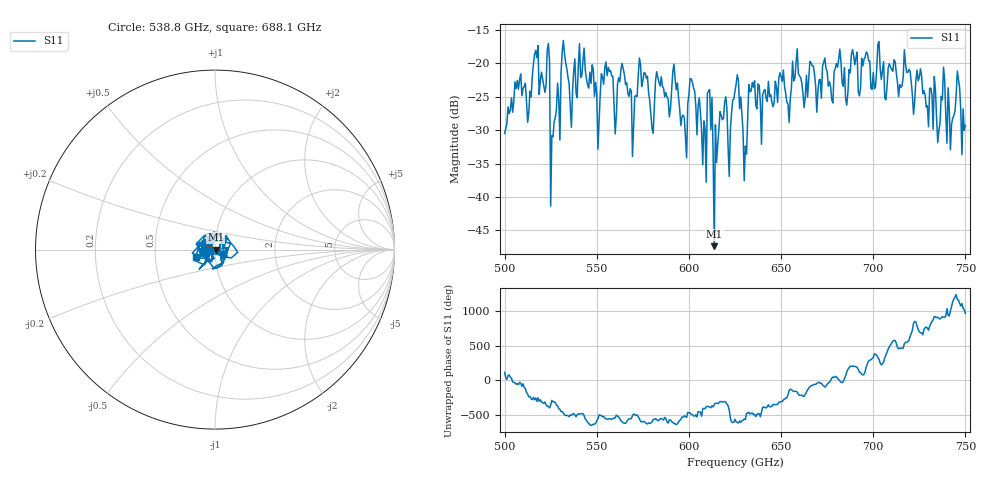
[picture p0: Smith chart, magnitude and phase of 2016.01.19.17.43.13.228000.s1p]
!Created with skrf (http://scikit-rf.org).
# GHz S RI R 50.0
!freq ReS11 ImS11
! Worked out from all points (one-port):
!   401 points, 500 GHz to 750 GHz, reference 50 ohm
!   lowest |S11| = -47.3 dB at 613.8 GHz (marker M1), VSWR 1.01, Z = 50.4 + j0.0508 ohm
!   |S11| at or under -10 dB: start of sweep to end of sweep
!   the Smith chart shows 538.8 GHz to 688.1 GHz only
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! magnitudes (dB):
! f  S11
! 500 GHz  -30.5
! 507.5 GHz  -23.9
! 513.1 GHz  -27.3
! 516.9 GHz  -18.1
! 523.1 GHz  -18.1
! 526.2 GHz  -31.0
! 531.2 GHz  -18.3
! 535.6 GHz  -26.6
! 541.9 GHz  -21.9
! 550 GHz  -24.6
! 562.5 GHz  -22.8
! 570.6 GHz  -25.0
! 574.4 GHz  -23.5
! 580 GHz  -29.8
! 583.1 GHz  -22.1
! 593.8 GHz  -23.0
! 597.5 GHz  -28.2
! 601.9 GHz  -22.8
! 608.1 GHz  -28.6
! 611.2 GHz  -23.9
! 613.8 GHz  -47.3
! 625 GHz  -24.2
! 630.6 GHz  -32.4
! 633.8 GHz  -24.1
! 656.2 GHz  -19.7
! 687.5 GHz  -21.5
! 718.8 GHz  -21.4
! 750 GHz  -29.3
